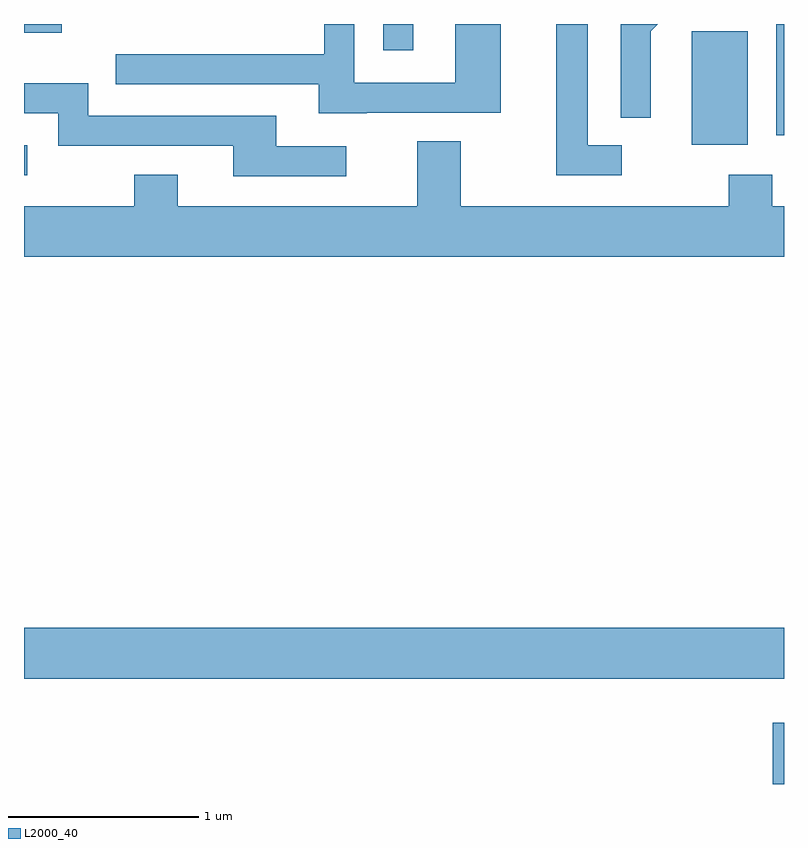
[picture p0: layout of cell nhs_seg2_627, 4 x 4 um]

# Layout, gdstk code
import gdstk
lib = gdstk.Library(unit=1e-6, precision=1e-09)
def R(c, l, rs):  # rectangles x0, y0, x1, y1
    for r in rs: c.add(gdstk.rectangle(r[:2], r[2:], *l))
def P(c, l, *ps):  # polygons
    for p in ps: c.add(gdstk.Polygon(p, *l))
L2000_40 = (2000, 40)

nhs_seg2_627 = lib.new_cell('nhs_seg2_627')
R(nhs_seg2_627, L2000_40, [(207.551,1007.802,207.611,1008.124), (203.611,1008.356,207.611,1008.624), (203.611,1011.006,203.628,1011.164), (207.126,1011.166,207.419,1011.764), (207.571,1011.216,207.611,1011.802), (205.501,1011.663,205.659,1011.802), (203.611,1011.756,203.809,1011.802)])
P(nhs_seg2_627, L2000_40, [(206.909,1011.764),(206.947,1011.802),(206.751,1011.802),(206.751,1011.308),(206.909,1011.308)],
  [(205.415,1011.336),(206.119,1011.336),(206.119,1011.802),(205.881,1011.802),(205.881,1011.494),(205.349,1011.494),(205.349,1011.802),(205.191,1011.802),(205.191,1011.644),(204.093,1011.644),(204.093,1011.486),(205.161,1011.486),(205.161,1011.331),(205.415,1011.331)],
  [(206.758,1011.164),(206.579,1011.164),(206.579,1011.802),(206.411,1011.802),(206.411,1011.006),(206.758,1011.006)],
  [(205.308,1011.159),(204.939,1011.159),(204.939,1011.319),(203.949,1011.319),(203.949,1011.489),(203.611,1011.489),(203.611,1011.331),(203.791,1011.331),(203.791,1011.161),(204.711,1011.161),(204.711,1011.001),(205.308,1011.001)],
  [(207.611,1010.844),(207.549,1010.844),(207.549,1011.009),(207.321,1011.009),(207.321,1010.844),(205.909,1010.844),(205.909,1011.184),(205.681,1011.184),(205.681,1010.844),(204.419,1010.844),(204.419,1011.009),(204.191,1011.009),(204.191,1010.844),(203.611,1010.844),(203.611,1010.576),(207.611,1010.576)])

lib.write_gds('nhs_seg2_627.gds')
